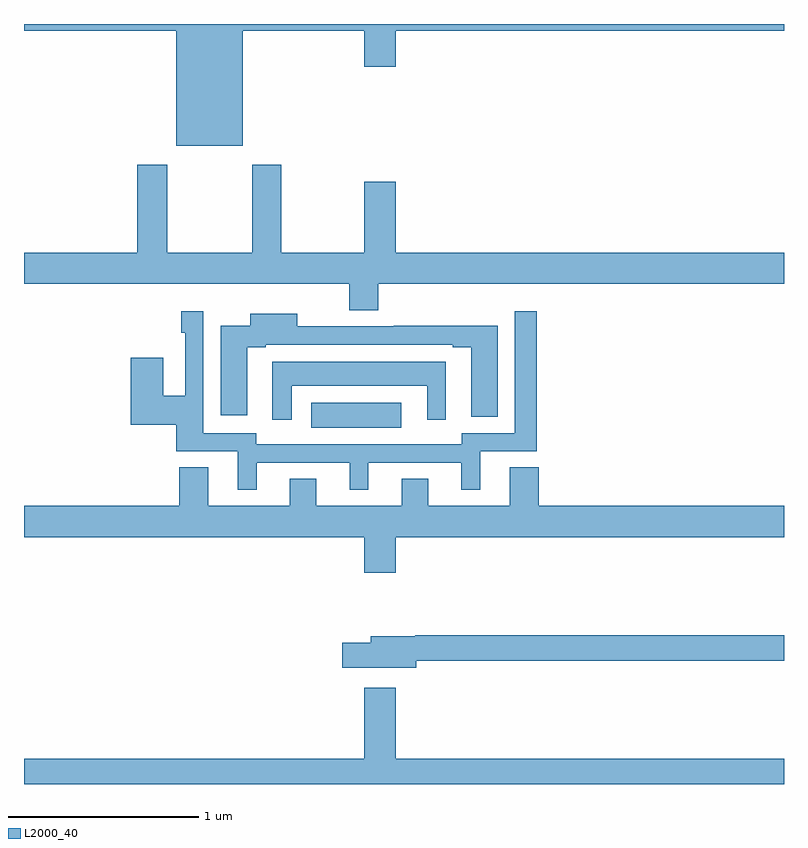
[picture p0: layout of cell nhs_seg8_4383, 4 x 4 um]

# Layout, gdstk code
import gdstk
lib = gdstk.Library(unit=1e-6, precision=1e-09)
def R(c, l, rs):  # rectangles x0, y0, x1, y1
    for r in rs: c.add(gdstk.rectangle(r[:2], r[2:], *l))
def P(c, l, *ps):  # polygons
    for p in ps: c.add(gdstk.Polygon(p, *l))
L2000_40 = (2000, 40)

nhs_seg8_4383 = lib.new_cell('nhs_seg8_4383')
R(nhs_seg8_4383, L2000_40, [(380.511,1083.776,380.986,1083.907)])
P(nhs_seg8_4383, L2000_40, [(380.152,1085.864),(380.792,1085.864),(380.792,1085.676),(380.956,1085.676),(380.956,1085.864),(383,1085.864),(383,1085.9),(379,1085.9),(379,1085.864),(379.802,1085.864),(379.802,1085.258),(380.152,1085.258)],
  [(380.864,1084.532),(383,1084.532),(383,1084.696),(380.956,1084.696),(380.956,1085.071),(380.792,1085.071),(380.792,1084.696),(380.355,1084.696),(380.355,1085.158),(380.2,1085.158),(380.2,1084.696),(379.755,1084.696),(379.755,1085.158),(379.595,1085.158),(379.595,1084.696),(379,1084.696),(379,1084.532),(380.711,1084.532),(380.711,1084.393),(380.864,1084.393)],
  [(380.224,1083.591),(380.714,1083.591),(380.714,1083.45),(380.812,1083.45),(380.812,1083.591),(381.302,1083.591),(381.302,1083.45),(381.4,1083.45),(381.4,1083.651),(381.698,1083.651),(381.698,1084.387),(381.582,1084.387),(381.582,1083.747),(381.303,1083.747),(381.303,1083.687),(380.223,1083.687),(380.223,1083.747),(379.944,1083.747),(379.944,1084.387),(379.828,1084.387),(379.828,1084.274),(379.848,1084.274),(379.848,1083.944),(379.732,1083.944),(379.732,1084.144),(379.562,1084.144),(379.562,1083.791),(379.802,1083.791),(379.802,1083.651),(380.126,1083.651),(380.126,1083.45),(380.224,1083.45)],
  [(381.493,1084.311),(380.947,1084.311),(380.947,1084.308),(380.437,1084.308),(380.437,1084.375),(380.192,1084.375),(380.192,1084.311),(380.036,1084.311),(380.036,1083.84),(380.176,1083.84),(380.176,1084.2),(380.272,1084.2),(380.272,1084.212),(381.257,1084.212),(381.257,1084.2),(381.353,1084.2),(381.353,1083.834),(381.493,1083.834)],
  [(380.41,1083.995),(381.122,1083.995),(381.122,1083.816),(381.22,1083.816),(381.22,1084.123),(380.306,1084.123),(380.306,1083.816),(380.41,1083.816)],
  [(380.956,1083.2),(383,1083.2),(383,1083.364),(381.71,1083.364),(381.71,1083.566),(381.557,1083.566),(381.557,1083.364),(381.127,1083.364),(381.127,1083.506),(380.987,1083.506),(380.987,1083.364),(380.539,1083.364),(380.539,1083.506),(380.399,1083.506),(380.399,1083.364),(379.969,1083.364),(379.969,1083.566),(379.817,1083.566),(379.817,1083.364),(379,1083.364),(379,1083.2),(380.792,1083.2),(380.792,1083.012),(380.956,1083.012)],
  [(381.064,1082.548),(383,1082.548),(383,1082.684),(381.06,1082.684),(381.06,1082.677),(380.825,1082.677),(380.825,1082.643),(380.676,1082.643),(380.676,1082.513),(381.064,1082.513)],
  [(383,1082.032),(380.956,1082.032),(380.956,1082.407),(380.792,1082.407),(380.792,1082.032),(379,1082.032),(379,1081.9),(383,1081.9)])

lib.write_gds('nhs_seg8_4383.gds')
